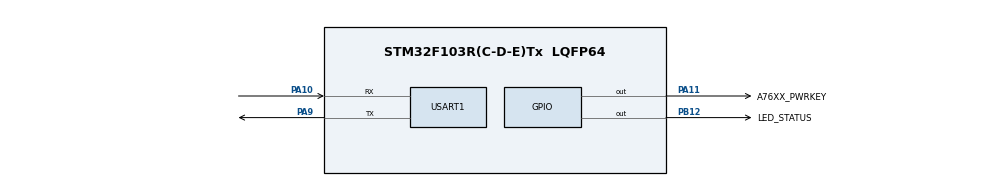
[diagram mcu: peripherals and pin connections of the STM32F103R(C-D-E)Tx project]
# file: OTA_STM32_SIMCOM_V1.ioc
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Dma.MEMTOMEM.0.Direction=DMA_MEMORY_TO_MEMORY
Dma.MEMTOMEM.0.Instance=DMA1_Channel1
Dma.MEMTOMEM.0.MemDataAlignment=DMA_MDATAALIGN_BYTE
Dma.MEMTOMEM.0.MemInc=DMA_MINC_ENABLE
Dma.MEMTOMEM.0.Mode=DMA_NORMAL
Dma.MEMTOMEM.0.PeriphDataAlignment=DMA_PDATAALIGN_BYTE
Dma.MEMTOMEM.0.PeriphInc=DMA_PINC_ENABLE
Dma.MEMTOMEM.0.Priority=DMA_PRIORITY_LOW
Dma.Request0=MEMTOMEM
Mcu.Family=STM32F1
Mcu.Name=STM32F103R(C-D-E)Tx
Mcu.Package=LQFP64
NVIC.PriorityGroup=NVIC_PRIORITYGROUP_4
NVIC.USART1_IRQn=true\:3\:0\:true\:false\:true\:true\:true\:true
PA10.Mode=Asynchronous
PA10.Signal=USART1_RX
PA11.GPIO_Label=A76XX_PWRKEY
PA11.Signal=GPIO_Output
PA13.Mode=Trace_Asynchronous_SW
PA13.Signal=SYS_JTMS-SWDIO
PA14.Mode=Trace_Asynchronous_SW
PA14.Signal=SYS_JTCK-SWCLK
PA9.Mode=Asynchronous
PA9.Signal=USART1_TX
PB12.GPIO_Label=LED_STATUS
PB12.Signal=GPIO_Output
PB3.Mode=Trace_Asynchronous_SW
PB3.Signal=SYS_JTDO-TRACESWO
PD0-OSC_IN.Mode=HSE-External-Oscillator
PD0-OSC_IN.Signal=RCC_OSC_IN
PD1-OSC_OUT.Mode=HSE-External-Oscillator
PD1-OSC_OUT.Signal=RCC_OSC_OUT
ProjectManager.HeapSize=0x200
ProjectManager.StackSize=0x400
ProjectManager.TargetToolchain=STM32CubeIDE
RCC.APB1Freq_Value=8000000
RCC.APB2Freq_Value=8000000
USART1.VirtualMode=VM_ASYNC
board=custom

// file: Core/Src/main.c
/* USER CODE BEGIN Header */
/**
 ******************************************************************************
 * @file           : main.c
 * @brief          : Main program body
 ******************************************************************************
 * @attention
 *
 * Copyright (c) 2024 STMicroelectronics.
 * All rights reserved.
 *
 * This software is licensed under terms that can be found in the LICENSE file
 * in the root directory of this software component.
 * If no LICENSE file comes with this software, it is provided AS-IS.
 *
 ******************************************************************************
 */
/* USER CODE END Header */
#include "main.h"

/* USER CODE BEGIN Includes */
#include "common_simcom.h"
#include "config.h"
#include "stdbool.h"
#include "stdio.h"
#include "stdlib.h"
#include "string.h"
#include <math.h>

/* USER CODE END Includes */

/* USER CODE BEGIN PTD */
char data_memory[20] = {":020000040800F2"};
char swap_data_memory[20];

char example_file_hex[] =
    "+HTTPREAD: 100\n"
    ":020000040800F2\n"
    ":100000000000012045040008E1030008E90300089E\n"
    ":10001000F1030008F90300080104000800000\n"
    "+HTTPREAD: 0";

/* USER CODE END PTD */

/* USER CODE BEGIN PD */
int _write(int file, char *ptr, int len)
{

    int i;
    for (i = 0; i < len; i++) {
        ITM_SendChar(*ptr++);
    }
    return len;
}

/* USER CODE END PD */

UART_HandleTypeDef huart1;

DMA_HandleTypeDef hdma_memtomem_dma1_channel1;

void SystemClock_Config(void);
static void MX_GPIO_Init(void);
static void MX_DMA_Init(void);
static void MX_USART1_UART_Init(void);
/* USER CODE BEGIN PFP */
void check_handle_state(enum GmsModemState status)
{
    switch (status) {
    case Off: {
        enable_simcom();
        is_pb_done = wait_for_pb_done_event();
        if (is_pb_done) {
            current_status_simcom = On;
            printf("Current status Simcom on \r\n");
        } else {
            NVIC_SystemReset();
        }
        break;
    }
    case On: {
        is_checked_sim = check_signal_simcom();
        if (is_checked_sim) {
            HAL_GPIO_WritePin(GPIOB, LED_STATUS_Pin, GPIO_PIN_RESET);
            total_errors = 0;
            current_status_simcom = Internet_ready;
            printf("Current status Simcom Internet Ready\r\n");
        } else {
            total_errors++;
        }
        if (total_errors > 5) {
            restart_stm32();
        }
        break;
    }
    case Internet_ready: {
        is_started_http = get_file_hex_form_simcom();
        if (is_started_http == STATUS_OK) {
            current_status_simcom = Mqtt_ready;
        } else
            total_errors++;
        if (total_errors > 5) {
            restart_stm32();
        }
        break;
    }
    default:
        HAL_Delay(2000);
        printf("\rCase cannot be determined !\r\n");
    }
}

/* USER CODE END PFP */

int main(void)
{

  /* MCU Configuration--------------------------------------------------------*/

  /* Reset of all peripherals, Initializes the Flash interface and the Systick. */
  HAL_Init();

  /* Configure the system clock */
  SystemClock_Config();

  /* Initialize all configured peripherals */
  MX_GPIO_Init();
  MX_DMA_Init();
  MX_USART1_UART_Init();
  /* USER CODE BEGIN 2 */
    printf("HELLO AGRICONNECT\r\n");
    HAL_UARTEx_ReceiveToIdle_IT(&huart1, (uint8_t *)rx_buffer, 700);
  /* USER CODE END 2 */

  /* Infinite loop */
    while (1) {

    /* USER CODE BEGIN 3 */
        check_handle_state(current_status_simcom);
    }
  /* USER CODE END 3 */
}

void SystemClock_Config(void)
{
  RCC_OscInitTypeDef RCC_OscInitStruct = {0};
  RCC_ClkInitTypeDef RCC_ClkInitStruct = {0};

  /** Initializes the RCC Oscillators according to the specified parameters
  * in the RCC_OscInitTypeDef structure.
  */
  RCC_OscInitStruct.OscillatorType = RCC_OSCILLATORTYPE_HSI;
  RCC_OscInitStruct.HSIState = RCC_HSI_ON;
  RCC_OscInitStruct.HSICalibrationValue = RCC_HSICALIBRATION_DEFAULT;
  RCC_OscInitStruct.PLL.PLLState = RCC_PLL_NONE;
  if (HAL_RCC_OscConfig(&RCC_OscInitStruct) != HAL_OK)
  {
    Error_Handler();
  }

  /** Initializes the CPU, AHB and APB buses clocks
  */
  RCC_ClkInitStruct.ClockType = RCC_CLOCKTYPE_HCLK|RCC_CLOCKTYPE_SYSCLK
                              |RCC_CLOCKTYPE_PCLK1|RCC_CLOCKTYPE_PCLK2;
  RCC_ClkInitStruct.SYSCLKSource = RCC_SYSCLKSOURCE_HSI;
  RCC_ClkInitStruct.AHBCLKDivider = RCC_SYSCLK_DIV1;
  RCC_ClkInitStruct.APB1CLKDivider = RCC_HCLK_DIV1;
  RCC_ClkInitStruct.APB2CLKDivider = RCC_HCLK_DIV1;

  if (HAL_RCC_ClockConfig(&RCC_ClkInitStruct, FLASH_LATENCY_0) != HAL_OK)
  {
    Error_Handler();
  }
}

static void MX_USART1_UART_Init(void)
{

  huart1.Instance = USART1;
  huart1.Init.BaudRate = 115200;
  huart1.Init.WordLength = UART_WORDLENGTH_8B;
  huart1.Init.StopBits = UART_STOPBITS_1;
  huart1.Init.Parity = UART_PARITY_NONE;
  huart1.Init.Mode = UART_MODE_TX_RX;
  huart1.Init.HwFlowCtl = UART_HWCONTROL_NONE;
  huart1.Init.OverSampling = UART_OVERSAMPLING_16;
  if (HAL_UART_Init(&huart1) != HAL_OK)
  {
    Error_Handler();
  }

}

static void MX_DMA_Init(void)
{

  /* DMA controller clock enable */
  __HAL_RCC_DMA1_CLK_ENABLE();

  /* Configure DMA request hdma_memtomem_dma1_channel1 on DMA1_Channel1 */
  hdma_memtomem_dma1_channel1.Instance = DMA1_Channel1;
  hdma_memtomem_dma1_channel1.Init.Direction = DMA_MEMORY_TO_MEMORY;
  hdma_memtomem_dma1_channel1.Init.PeriphInc = DMA_PINC_ENABLE;
  hdma_memtomem_dma1_channel1.Init.MemInc = DMA_MINC_ENABLE;
  hdma_memtomem_dma1_channel1.Init.PeriphDataAlignment = DMA_PDATAALIGN_BYTE;
  hdma_memtomem_dma1_channel1.Init.MemDataAlignment = DMA_MDATAALIGN_BYTE;
  hdma_memtomem_dma1_channel1.Init.Mode = DMA_NORMAL;
  hdma_memtomem_dma1_channel1.Init.Priority = DMA_PRIORITY_LOW;
  if (HAL_DMA_Init(&hdma_memtomem_dma1_channel1) != HAL_OK)
  {
    Error_Handler( );
  }

}

static void MX_GPIO_Init(void)
{
  GPIO_InitTypeDef GPIO_InitStruct = {0};

  /* GPIO Ports Clock Enable */
  __HAL_RCC_GPIOD_CLK_ENABLE();
  __HAL_RCC_GPIOB_CLK_ENABLE();
  __HAL_RCC_GPIOA_CLK_ENABLE();

  /*Configure GPIO pin Output Level */
  HAL_GPIO_WritePin(LED_STATUS_GPIO_Port, LED_STATUS_Pin, GPIO_PIN_RESET);

  /*Configure GPIO pin Output Level */
  HAL_GPIO_WritePin(A76XX_PWRKEY_GPIO_Port, A76XX_PWRKEY_Pin, GPIO_PIN_RESET);

  /*Configure GPIO pin : LED_STATUS_Pin */
  GPIO_InitStruct.Pin = LED_STATUS_Pin;
  GPIO_InitStruct.Mode = GPIO_MODE_OUTPUT_PP;
  GPIO_InitStruct.Pull = GPIO_NOPULL;
  GPIO_InitStruct.Speed = GPIO_SPEED_FREQ_LOW;
  HAL_GPIO_Init(LED_STATUS_GPIO_Port, &GPIO_InitStruct);

  /*Configure GPIO pin : A76XX_PWRKEY_Pin */
  GPIO_InitStruct.Pin = A76XX_PWRKEY_Pin;
  GPIO_InitStruct.Mode = GPIO_MODE_OUTPUT_PP;
  GPIO_InitStruct.Pull = GPIO_NOPULL;
  GPIO_InitStruct.Speed = GPIO_SPEED_FREQ_LOW;
  HAL_GPIO_Init(A76XX_PWRKEY_GPIO_Port, &GPIO_InitStruct);

}

void Error_Handler(void)
{
    __disable_irq();
    while (1) {
    }
}
